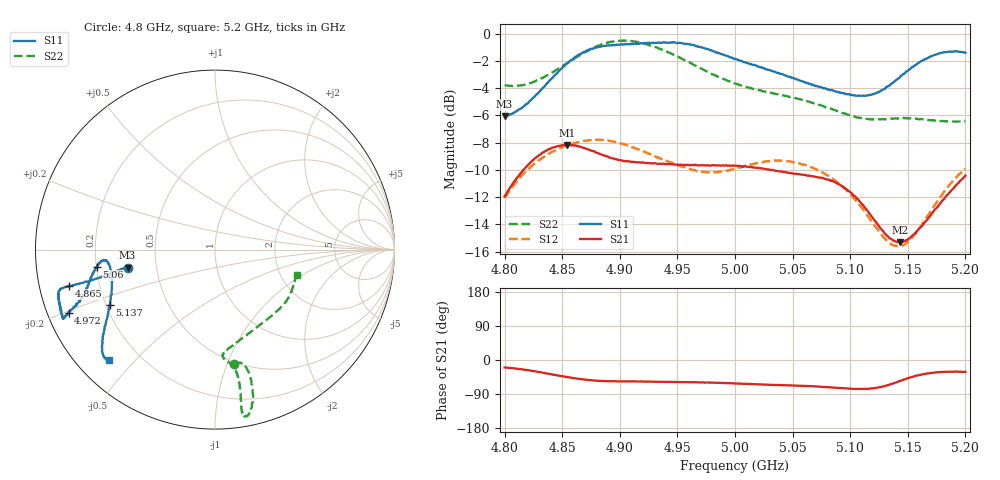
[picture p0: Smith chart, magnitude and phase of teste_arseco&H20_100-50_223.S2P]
! Network Analyzer HP8722D
! Hewlett-Packard
! Data name: Linha & Wilkinson
! Saver's name: Rodrigo Anjos
! Comments: Teste da utilização de aquisição
! continua pelo VNA HP8722D
! Time and date: 6/5/2025 14:25
!  Frequency  S11  S21  S12  S22
# HZ  S  MA R 50
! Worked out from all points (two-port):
!   401 points, 4.8 GHz to 5.2 GHz, reference 50 ohm
!   highest |S21| = -8.17 dB at 4.854 GHz (marker M1); lowest = -15.3 dB at 5.143 GHz (marker M2)
!   |S21| within 3 dB of the highest: 4.806 GHz to 5.093 GHz (286.7 MHz wide, 5.79 % of centre); 5.191397 GHz to end of sweep
!   lowest |S11| = -6.1 dB at 4.8 GHz (marker M3), VSWR 2.98, Z = 16.9 - j4.57 ohm
!   |S11| at or under -10 dB: nowhere
!   |S22| runs from -6.5 to -0.5 dB; largest |S21 - S12| = 0.62
!   S11 on the Smith chart (normalised r, x): 4.8 GHz: 0.34, -0.09; 4.865 GHz: 0.09, -0.12; 4.972 GHz: 0.06, -0.21; 5.06 GHz: 0.20, -0.07; 5.137 GHz: 0.22, -0.23; 5.2 GHz: 0.09, -0.42
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4.8e9  0.4973 -168.2  0.2526 -19.8  0.2496 -141.0  0.6476 -80.4
4.826e9  0.588 -167.3  0.3478 -29.8  0.3332 -144.7  0.6677 -75.6
4.854e9  0.7774 -165.9  0.3902 -45.1  0.3893 -149.9  0.7792 -74.8
4.865e9  0.8391 -166.1  0.3858 -50.0  0.4005 -151.8  0.8329 -75.2
4.867e9  0.8483 -165.9  0.3831 -51.0  0.4028 -152.2  0.8435 -75.4
4.899e9  0.9121 -162.9  0.3437 -56.7  0.3972 -156.8  0.9435 -79.1
4.934e9  0.9281 -156.6  0.3331 -57.5  0.3513 -155.8  0.8831 -80.5
4.953e9  0.9253 -155.5  0.3306 -58.2  0.3258 -152.1  0.8138 -79.9
4.972e9  0.8882 -156.6  0.329 -59.1  0.3109 -146.2  0.7404 -79.8
5e9  0.8095 -159.1  0.3276 -61.9  0.3198 -137.3  0.6563 -81.3
5.036e9  0.7204 -165.7  0.3134 -66.1  0.3417 -134.5  0.6007 -85.7
5.06e9  0.6647 -171.7  0.3033 -68.2  0.3302 -136.2  0.569 -84.2
5.067e9  0.6513 -173.0  0.2997 -69.3  0.3228 -136.9  0.5583 -82.6
5.083e9  0.6209 -174.4  0.2882 -72.2  0.297 -138.2  0.5309 -76.7
5.101e9  0.5968 -172.2  0.2601 -75.9  0.2551 -138.8  0.4999 -66.5
5.116e9  0.5942 -165.4  0.221 -76.0  0.2123 -135.5  0.4862 -55.7
5.134e9  0.6461 -154.3  0.1776 -65.2  0.1705 -120.6  0.4871 -43.3
5.137e9  0.6602 -152.4  0.1742 -62.2  0.1675 -116.8  0.4883 -41.4
5.143e9  0.6913 -149.4  0.1715 -55.7  0.1658 -108.9  0.4891 -38.0
5.155e9  0.7585 -144.1  0.1827 -43.7  0.1808 -94.0  0.4875 -31.9
5.174e9  0.8381 -138.5  0.227 -32.9  0.2367 -80.4  0.4795 -23.9
5.2e9  0.8519 -133.7  0.301 -31.3  0.3197 -76.9  0.4776 -17.5
